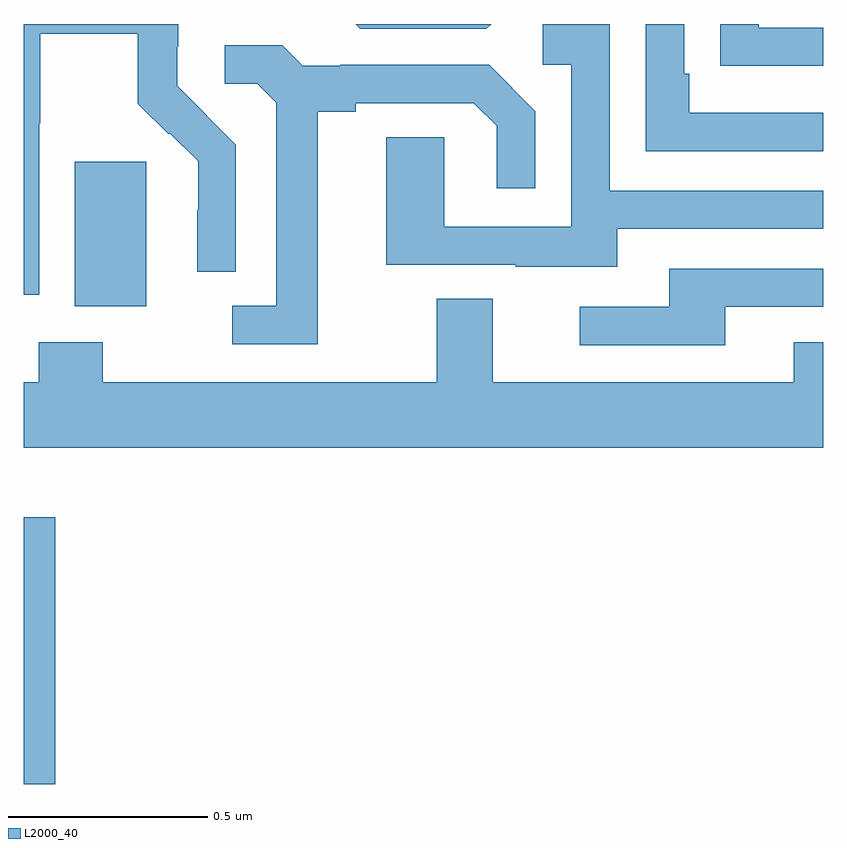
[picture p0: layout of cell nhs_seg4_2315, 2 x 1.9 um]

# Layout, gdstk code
import gdstk
lib = gdstk.Library(unit=1e-6, precision=1e-09)
def R(c, l, rs):  # rectangles x0, y0, x1, y1
    for r in rs: c.add(gdstk.rectangle(r[:2], r[2:], *l))
def P(c, l, *ps):  # polygons
    for p in ps: c.add(gdstk.Polygon(p, *l))
L2000_40 = (2000, 40)

nhs_seg4_2315 = lib.new_cell('nhs_seg4_2315')
R(nhs_seg4_2315, L2000_40, [(139,775.998,139.079,776.665), (139.127,777.194,139.306,777.555)])
P(nhs_seg4_2315, L2000_40, [(141,777.891),(140.839,777.891),(140.839,777.9),(140.743,777.9),(140.743,777.796),(140.845,777.796),(140.845,777.795),(141,777.795)],
  [(141,777.678),(140.665,777.678),(140.665,777.775),(140.652,777.775),(140.652,777.9),(140.556,777.9),(140.556,777.582),(141,777.582)],
  [(139.038,777.652),(139.041,777.652),(139.041,777.876),(139.285,777.876),(139.285,777.701),(139.362,777.624),(139.365,777.627),(139.436,777.557),(139.436,777.434),(139.434,777.434),(139.434,777.28),(139.53,777.28),(139.53,777.598),(139.457,777.671),(139.458,777.672),(139.384,777.746),(139.384,777.843),(139.386,777.843),(139.386,777.9),(139,777.9),(139,777.223),(139.038,777.223)],
  [(140.169,777.9),(139.83,777.9),(139.842,777.888),(140.157,777.888)],
  [(140.485,777.387),(141,777.387),(141,777.483),(140.466,777.483),(140.466,777.899),(140.298,777.899),(140.298,777.798),(140.37,777.798),(140.37,777.393),(140.052,777.393),(140.052,777.617),(139.907,777.617),(139.907,777.297),(140.231,777.297),(140.231,777.293),(140.485,777.293)],
  [(139.735,777.68),(139.831,777.68),(139.831,777.702),(140.126,777.702),(140.183,777.645),(140.183,777.489),(140.28,777.489),(140.28,777.682),(140.164,777.798),(139.792,777.798),(139.792,777.795),(139.698,777.795),(139.646,777.847),(139.503,777.847),(139.503,777.75),(139.584,777.75),(139.631,777.703),(139.631,777.195),(139.521,777.195),(139.521,777.099),(139.735,777.099)],
  [(140.755,777.192),(141,777.192),(141,777.288),(140.615,777.288),(140.615,777.192),(140.391,777.192),(140.391,777.096),(140.755,777.096)],
  [(141,777.103),(140.927,777.103),(140.927,777.004),(140.173,777.004),(140.173,777.212),(140.033,777.212),(140.033,777.004),(139.197,777.004),(139.197,777.103),(139.037,777.103),(139.037,777.004),(139,777.004),(139,776.84),(141,776.84)])

lib.write_gds('nhs_seg4_2315.gds')
